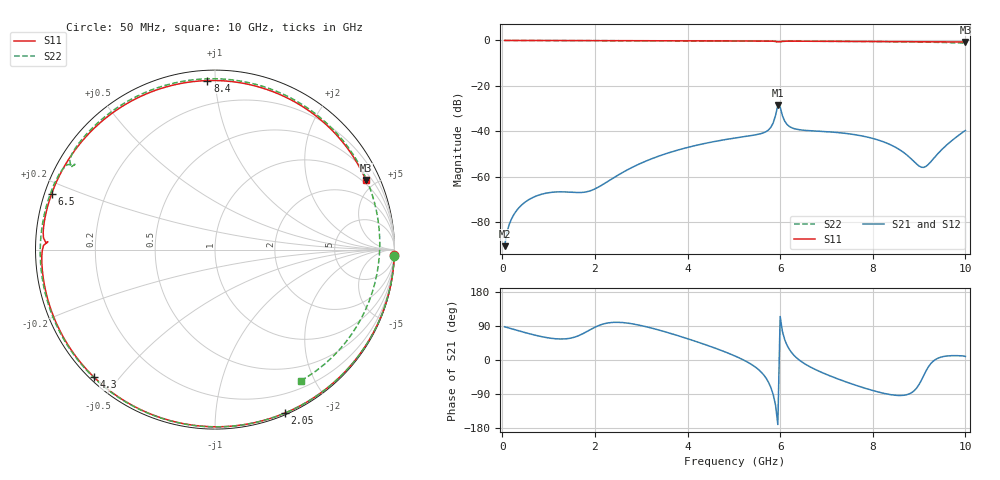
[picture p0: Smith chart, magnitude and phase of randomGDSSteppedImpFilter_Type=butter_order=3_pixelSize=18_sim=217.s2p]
! freq	dB(S11)	phase(S11)	dB(S12)	phase(S12)
!  dB(S21)	phase(S21)	dB(S22)	phase(S22)
!S-par simulation data
#  GHz  S  DB  R 50
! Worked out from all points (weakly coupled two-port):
!   200 points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, 50 MHz to 10 GHz, reference 50 ohm
!   highest |S21| = -28.45 dB at 5.95 GHz (marker M1); lowest = -90.4 dB at 50 MHz (marker M2)
!   lowest |S11| = -0.7 dB at 10 GHz (marker M3), VSWR 25.79, Z = 40.7 + j220 ohm
!   |S11| at or under -10 dB: nowhere
!   |S22| runs from -1.2 to 0.0 dB; largest |S21 - S12| = 0
!   S11 on the Smith chart (normalised r, x): 50 MHz: 1, -67; 2.05 GHz: 0.02, -1.51; 4.3 GHz: 0.01, -0.43; 6.5 GHz: 0.02, +0.17; 8.4 GHz: 0.06, +0.95; 10 GHz: 0.81, +4.40
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0.05  -0.01 -1.7  -90.43 87.7  -90.43 87.7  -0.01 -2.1
0.15  -0.01 -5.1  -80.87 84.2  -80.87 84.2  -0.01 -6.3
0.4  -0.02 -13.5  -72.68 75.4  -72.68 75.4  -0.02 -16.7
0.75  -0.03 -25.1  -68.25 64.3  -68.25 64.3  -0.04 -31.2
1.75  -0.07 -57.5  -66.75 70.0  -66.75 70.0  -0.09 -70.5
2.05  -0.08 -67.0  -64.74 89.3  -64.74 89.3  -0.10 -81.5
2.7  -0.11 -86.9  -56.89 97.4  -56.89 97.4  -0.12 -104.5
3.4  -0.14 -107.6  -50.70 78.4  -50.70 78.4  -0.15 -127.8
4.3  -0.18 -133.6  -45.59 44.1  -45.59 44.1  -0.19 -156.5
5.05  -0.23 -155.3  -42.81 9.2  -42.81 9.2  -0.23 179.7
5.75  -0.29 -176.3  -39.30 -59.2  -39.30 -59.2  -0.30 156.2
5.85  -0.33 -179.6  -36.26 -91.2  -36.26 -91.2  -0.35 152.3
5.95  -0.61 177.3  -28.45 -170.3  -28.45 -170.3  -0.79 148.7
6.15  -0.32 172.5  -36.95 38.6  -36.95 38.6  -0.34 144.0
6.5  -0.34 161.1  -39.45 -7.7  -39.45 -7.7  -0.34 130.8
6.7  -0.36 154.6  -39.75 -21.6  -39.75 -21.6  -0.35 123.1
7.6  -0.44 123.3  -41.37 -65.3  -41.37 -65.3  -0.44 85.2
8.35  -0.51 94.6  -45.54 -90.7  -45.54 -90.7  -0.54 47.9
8.4  -0.51 92.6  -46.01 -91.7  -46.01 -91.7  -0.55 45.2
9.1  -0.58 63.6  -55.80 -41.0  -55.80 -41.0  -0.73 4.1
9.55  -0.62 44.3  -46.81 9.7  -46.81 9.7  -0.91 -25.3
10  -0.67 24.8  -39.61 9.5  -39.61 9.5  -1.18 -56.9
